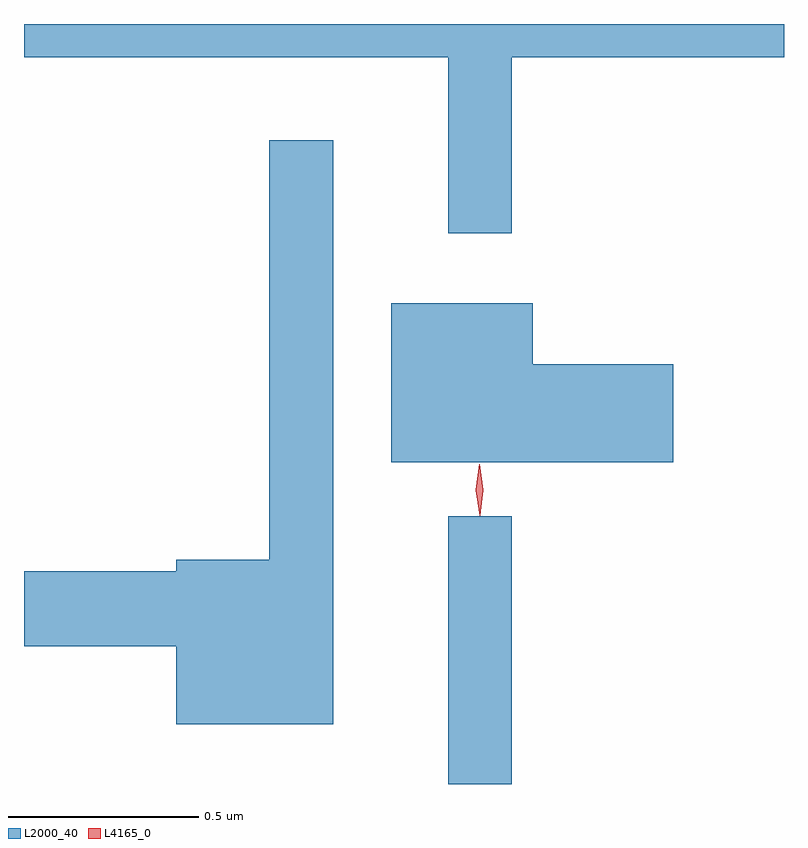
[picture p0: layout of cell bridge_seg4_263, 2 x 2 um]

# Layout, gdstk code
import gdstk
lib = gdstk.Library(unit=1e-6, precision=1e-09)
def R(c, l, rs):  # rectangles x0, y0, x1, y1
    for r in rs: c.add(gdstk.rectangle(r[:2], r[2:], *l))
def P(c, l, *ps):  # polygons
    for p in ps: c.add(gdstk.Polygon(p, *l))
L2000_40 = (2000, 40)
L4165_0 = (4165, 0)

bridge_seg4_263 = lib.new_cell('bridge_seg4_263')
R(bridge_seg4_263, L2000_40, [(706.631,1359.424,706.799,1360.128)])
P(bridge_seg4_263, L2000_40, [(706.799,1361.336),(707.515,1361.336),(707.515,1361.424),(705.515,1361.424),(705.515,1361.336),(706.631,1361.336),(706.631,1360.873),(706.799,1360.873)],
  [(706.329,1361.118),(706.161,1361.118),(706.161,1360.014),(705.916,1360.014),(705.916,1359.984),(705.516,1359.984),(705.516,1359.786),(705.916,1359.786),(705.916,1359.581),(706.329,1359.581)],
  [(707.224,1360.529),(706.854,1360.529),(706.854,1360.689),(706.481,1360.689),(706.481,1360.271),(707.224,1360.271)])
P(bridge_seg4_263, L4165_0, [(706.715,1360.133),(706.714,1360.134),(706.704,1360.196),(706.713,1360.259),(706.714,1360.26),(706.714,1360.259),(706.724,1360.196),(706.715,1360.134)],
  [(706.714,1360.13),(706.704,1360.198),(706.713,1360.266),(706.714,1360.266),(706.714,1360.266),(706.724,1360.198),(706.715,1360.13),(706.715,1360.13)])

lib.write_gds('bridge_seg4_263.gds')
